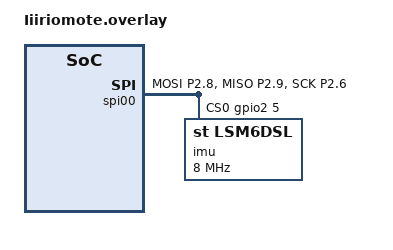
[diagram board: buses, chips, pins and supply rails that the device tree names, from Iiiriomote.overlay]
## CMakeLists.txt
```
cmake_minimum_required(VERSION 3.20.0)
find_package(Zephyr REQUIRED HINTS $ENV{ZEPHYR_BASE})

project(fw)

target_sources(app PRIVATE src/main.c src/hid_h.c)
```

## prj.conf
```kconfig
CONFIG_GPIO=y
CONFIG_SPI=y
CONFIG_SENSOR=y
CONFIG_LSM6DSL=y
CONFIG_LSM6DSL_TRIGGER_NONE=y # or set up INT1/INT2 triggers if needed
CONFIG_LSM6DSL_ACCEL_ODR=4
CONFIG_LSM6DSL_GYRO_ODR=4

CONFIG_BT=y
CONFIG_BT_PERIPHERAL=y
CONFIG_BT_DEVICE_NAME="Abracadibri"
CONFIG_BT_LE_EXTENDED_FEAT_SET=y
CONFIG_BT_CONN_CTX=y
CONFIG_BT_HIDS=y
CONFIG_BT_HIDS_DEFAULT_PERM_RW_ENCRYPT=y
CONFIG_BT_SUBRATING=y
CONFIG_BT_SHORTER_CONNECTION_INTERVALS=y
CONFIG_BT_HIDS_SCI=y
```

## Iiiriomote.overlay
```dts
&gpio2 {
	status = "okay";
};

&spi00 {
	status = "okay";
	pinctrl-0 = <&spi00_default>;
	pinctrl-names = "default";
	cs-gpios = <&gpio2 5 GPIO_ACTIVE_HIGH>;

	imu: imu@0 {
		status = "okay";
		compatible = "st,lsm6dsl";
		reg = <0>;
        	spi-max-frequency = <DT_FREQ_M(8)>;
	};
};

&pinctrl {
	spi00_default: spi00_default {
		group1 {
			psels = <NRF_PSEL(SPIM_MOSI, 2, 8)>,
				<NRF_PSEL(SPIM_MISO, 2, 9)>,
				<NRF_PSEL(SPIM_SCK, 2, 6)>;
		};
	};
};
```

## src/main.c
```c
#include <zephyr/kernel.h>
#include <zephyr/device.h>
#include <zephyr/drivers/sensor.h>
#include <zephyr/drivers/spi.h>
#include "hid_h.h"

#define IMU_SPI DT_NODELABEL(imu)

#define GYRO_X_CAL 0
#define GYRO_Y_CAL 0
#define GYRO_Z_CAL 0
#define ACCEL_X_CAL 0
#define ACCEL_Y_CAL 0
#define ACCEL_Z_CAL 0

struct values {
  float traX;
  float traY;
  float traZ;

  float rotX;
  float rotY;
  float rotZ;
};

int main(void) {
  static struct sensor_value accelX, accelY, accelZ;
  static struct sensor_value gyroX, gyroY, gyroZ;

  static struct values values;

  const struct device *dev = DEVICE_DT_GET(IMU_SPI);

  if (!device_is_ready(dev)) { 
    
  }

  hids_init();

  while (true) {
    sensor_sample_fetch(dev);

    sensor_channel_get(dev, SENSOR_CHAN_ACCEL_X, &accelX);
    sensor_channel_get(dev, SENSOR_CHAN_ACCEL_Y, &accelY);
    sensor_channel_get(dev, SENSOR_CHAN_ACCEL_Z, &accelZ);

    sensor_channel_get(dev, SENSOR_CHAN_GYRO_X, &gyroX);
    sensor_channel_get(dev, SENSOR_CHAN_GYRO_Y, &gyroY);
    sensor_channel_get(dev, SENSOR_CHAN_GYRO_Z, &gyroZ);

    values.traX =
        (float)accelX.val1 + (float)accelX.val2 * 1000000 + ACCEL_X_CAL;
    values.traY =
        (float)accelX.val1 + (float)accelX.val2 * 1000000 + ACCEL_Y_CAL;
    values.traZ =
        (float)accelX.val1 + (float)accelX.val2 * 1000000 + ACCEL_Z_CAL;

    values.rotX =
        (float)accelX.val1 + (float)accelX.val2 * 1000000 + GYRO_X_CAL;
    values.rotY =
        (float)accelX.val1 + (float)accelX.val2 * 1000000 + GYRO_Y_CAL;
    values.rotZ =
        (float)accelX.val1 + (float)accelX.val2 * 1000000 + GYRO_Z_CAL;
  }
}
```

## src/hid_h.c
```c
#include <zephyr/device.h>
#include <bluetooth/services/hids.h>
#include "hid_h.h"
#include "iiiriomote.h"

#define CONN_DEF()

struct bt_hids hids_obj;
struct bt_conn_ctx conn_ctx;

void hids_init()
{
    struct bt_hids_init_param init_param = {0};

    init_param.info.bcd_hid = 0x0111;
    init_param.info.b_country_code = 0x00;
    init_param.info.flags = BT_HIDS_REMOTE_WAKE | BT_HIDS_NORMALLY_CONNECTABLE | BT_HIDS_SCI_SUPPORTED;

    init_param.inp_rep_group_init.reports[0].id = 1;
    init_param.inp_rep_group_init.reports[0].size = 3;

    init_param.rep_map.data = reportMap;
    init_param.rep_map.size = sizeof(reportMap);

    init_param.is_mouse = true;

    bt_hids_init(&hids_obj, &init_param);
}

void send_hid_report(int pitch, int roll, int yaw, int plusX, int plusY, int highZ)
{
    uint8_t rep[] = {
        0x01,
    };

    bt_hids_inp_rep_send(&hids_obj, conn_ctx.conn, 0, rep, 3, NULL);
}
```

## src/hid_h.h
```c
#ifndef HID_H_H_
#define HID_H_H_

#include <stdint.h>

void hids_init();

void send_hid_report(int pitch, int roll, int yaw, int plusX, int plusY, int highY);
#endif
```

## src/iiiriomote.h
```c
#pragma once
#include <stdint.h>

// AUTO-GENERATED by WaratahCmd.exe (https://github.com/microsoft/hidtools)

// HID Usage Tables: 1.7.0
// Descriptor size: 48 (bytes)
// +----------+-------+-------------------+
// | ReportId | Kind  | ReportSizeInBytes |
// +----------+-------+-------------------+
// |        1 | Input |                16 |
// +----------+-------+-------------------+
static const uint8_t hidReportDescriptor[] =
    {
        0x05,
        0x01, // UsagePage(Generic Desktop[0x0001])
        0x09,
        0x02, // UsageId(Mouse[0x0002])
        0xA1,
        0x01, // Collection(Application)
        0x85,
        0x01, //     ReportId(1)
        0x09,
        0x01, //     UsageId(Pointer[0x0001])
        0xA1,
        0x00, //     Collection(Physical)
        0x09,
        0x30, //         UsageId(X[0x0030])
        0x09,
        0x31, //         UsageId(Y[0x0031])
        0x09,
        0x32, //         UsageId(Z[0x0032])
        0x09,
        0x49, //         UsageId(Qx[0x0049])
        0x09,
        0x4A, //         UsageId(Qy[0x004A])
        0x09,
        0x4B, //         UsageId(Qz[0x004B])
        0x09,
        0x4C, //         UsageId(Qw[0x004C])
        0x16,
        0x01,
        0x80, //         LogicalMinimum(-32,767)
        0x26,
        0xFF,
        0x7F, //         LogicalMaximum(32,767)
        0x95,
        0x07, //         ReportCount(7)
        0x75,
        0x10, //         ReportSize(16)
        0x81,
        0x02, //         Input(Data, Variable, Absolute, NoWrap, Linear, PreferredState, NoNullPosition, BitField)
        0x05,
        0x09, //         UsagePage(Button[0x0009])
        0x09,
        0x01, //         UsageId(Button 1[0x0001])
        0x95,
        0x01, //         ReportCount(1)
        0x81,
        0x02, //         Input(Data, Variable, Absolute, NoWrap, Linear, PreferredState, NoNullPosition, BitField)
        0xC0, //     EndCollection()
        0xC0, // EndCollection()
};

#pragma pack(push, 1)

#define HID_REPORT_INPUT1_ID (1)
struct HidReportInput1
{
    uint8_t ReportId = HID_REPORT_INPUT1_ID;
    uint8_t Payload[16];
};

#pragma pack(pop)
```
